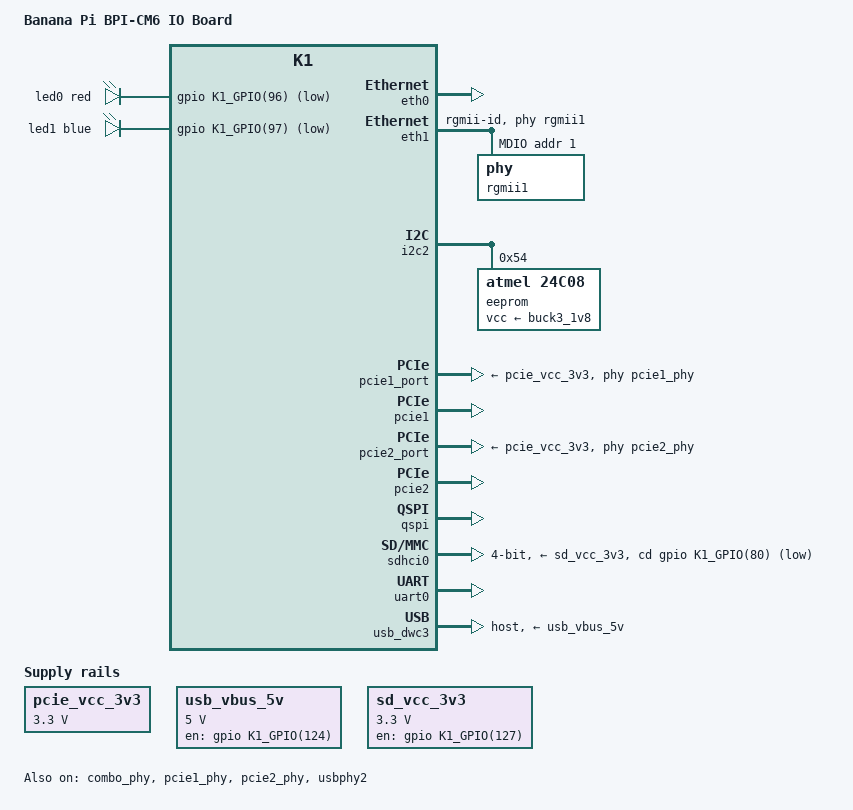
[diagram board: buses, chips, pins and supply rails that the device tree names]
// SPDX-License-Identifier: GPL-2.0 OR MIT
/*
 * Copyright (C) 2026 Junhui Liu <junhui.liu@pigmoral.tech>
 */

#include "k1-bananapi-cm6.dtsi"

#include <dt-bindings/leds/common.h>

/ {
	model = "Banana Pi BPI-CM6 IO Board";
	compatible = "bananapi,bpi-cm6-io", "bananapi,bpi-cm6", "spacemit,k1";

	aliases {
		ethernet0 = &eth0;
		ethernet1 = &eth1;
		serial0 = &uart0;
	};

	chosen {
		stdout-path = "serial0:115200n8";
	};

	leds {
		compatible = "gpio-leds";

		led0 {
			color = <LED_COLOR_ID_RED>;
			gpios = <&gpio K1_GPIO(96) GPIO_ACTIVE_LOW>;
		};

		led1 {
			color = <LED_COLOR_ID_BLUE>;
			gpios = <&gpio K1_GPIO(97) GPIO_ACTIVE_LOW>;
		};
	};

	pcie_vcc_3v3: regulator-pcie-vcc-3v3 {
		compatible = "regulator-fixed";
		regulator-name = "NGFF_KEYM_VDD";
		regulator-min-microvolt = <3300000>;
		regulator-max-microvolt = <3300000>;
		regulator-boot-on;
		regulator-always-on;
	};

	usb_vbus_5v: regulator-usb-vbus-5v {
		compatible = "regulator-fixed";
		regulator-name = "VBUS_A_B";
		regulator-min-microvolt = <5000000>;
		regulator-max-microvolt = <5000000>;
		gpio = <&gpio K1_GPIO(124) GPIO_ACTIVE_HIGH>;
		enable-active-high;
	};

	sd_vcc_3v3: regulator-sd-vcc-3v3 {
		compatible = "regulator-fixed";
		regulator-name = "3.3VS_CARD";
		regulator-min-microvolt = <3300000>;
		regulator-max-microvolt = <3300000>;
		gpio = <&gpio K1_GPIO(127) GPIO_ACTIVE_HIGH>;
		enable-active-high;
	};
};

&combo_phy {
	status = "okay";
};

&eth0 {
	status = "okay";
};

&eth1 {
	nvmem-cells = <&mac_address 1>;
	nvmem-cell-names = "mac-address";
	phy-handle = <&rgmii1>;
	phy-mode = "rgmii-id";
	pinctrl-names = "default";
	pinctrl-0 = <&gmac1_cfg>;
	rx-internal-delay-ps = <0>;
	tx-internal-delay-ps = <250>;
	status = "okay";

	mdio-bus {
		#address-cells = <0x1>;
		#size-cells = <0x0>;

		reset-gpios = <&gpio K1_GPIO(46) GPIO_ACTIVE_LOW>;
		reset-delay-us = <10000>;
		reset-post-delay-us = <100000>;

		rgmii1: phy@1 {
			reg = <0x1>;
		};
	};
};

&i2c2 {
	eeprom@54 {
		compatible = "atmel,24c08";
		reg = <0x54>;
		vcc-supply = <&buck3_1v8>;
		pagesize = <16>;
		size = <1024>;
	};
};

&pcie1_phy {
	pinctrl-names = "default";
	pinctrl-0 = <&pcie1_3_cfg>;
	status = "okay";
};

&pcie1_port {
	phys = <&pcie1_phy>;
	vpcie3v3-supply = <&pcie_vcc_3v3>;
};

&pcie1 {
	status = "okay";
};

&pcie2_phy {
	pinctrl-names = "default";
	pinctrl-0 = <&pcie2_4_cfg>;
	status = "okay";
};

&pcie2_port {
	phys = <&pcie2_phy>;
	vpcie3v3-supply = <&pcie_vcc_3v3>;
};

&pcie2 {
	status = "okay";
};

&qspi {
	pinctrl-names = "default";
	pinctrl-0 = <&qspi_cfg>;
	status = "okay";
};

&sdhci0 {
	pinctrl-names = "default", "uhs";
	pinctrl-0 = <&mmc1_cfg>;
	pinctrl-1 = <&mmc1_uhs_cfg>;
	bus-width = <4>;
	cd-gpios = <&gpio K1_GPIO(80) (GPIO_ACTIVE_LOW | GPIO_PULL_UP)>;
	no-mmc;
	no-sdio;
	disable-wp;
	cap-sd-highspeed;
	vmmc-supply = <&sd_vcc_3v3>;
	vqmmc-supply = <&aldo1>;
	sd-uhs-sdr25;
	sd-uhs-sdr50;
	sd-uhs-sdr104;
	status = "okay";
};

&uart0 {
	pinctrl-names = "default";
	pinctrl-0 = <&uart0_2_cfg>;
	status = "okay";
};

&usbphy2 {
	status = "okay";
};

&usb_dwc3 {
	dr_mode = "host";
	vbus-supply = <&usb_vbus_5v>;
	status = "okay";
};
